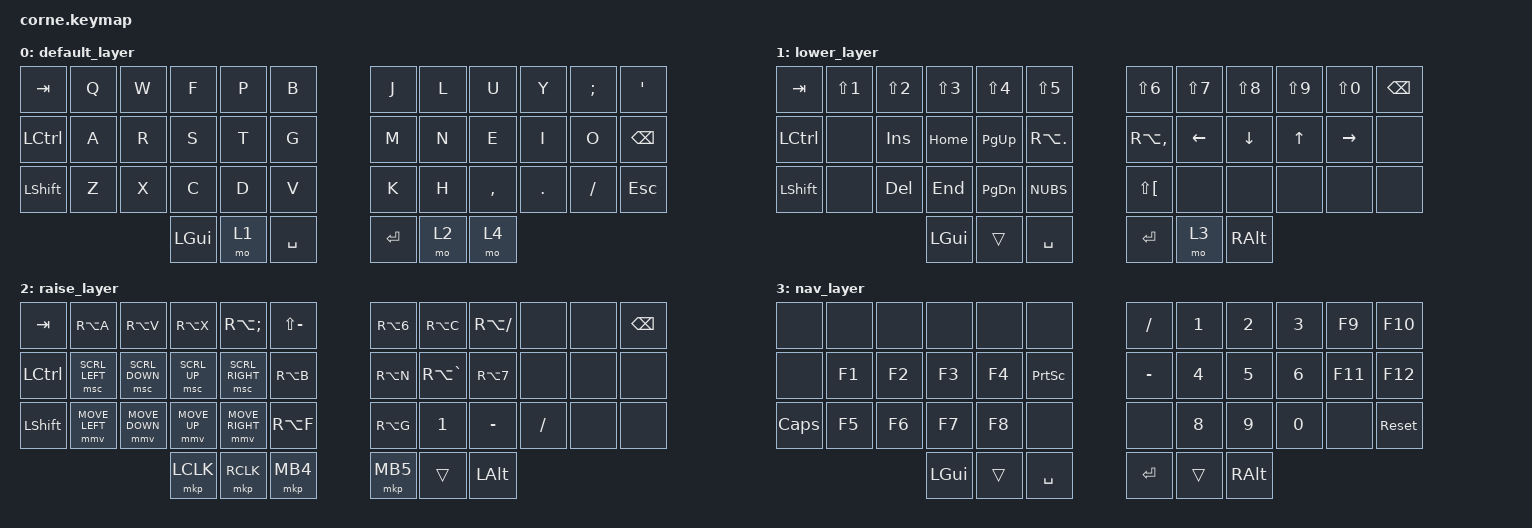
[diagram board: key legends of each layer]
#include <behaviors.dtsi>
#include <dt-bindings/zmk/keys.h>
#include <dt-bindings/zmk/mouse.h>
#include <dt-bindings/zmk/bt.h>

#define ZMK_POINTING_DEFAULT_MOVE_VAL 2000  // default: 600 so the mouse ain't slow as shit
#define ZMK_POINTING_DEFAULT_SCRL_VAL 20    // default: 10 for smoother scrolling

#include <dt-bindings/zmk/pointing.h>

/ {
    keymap {
        compatible = "zmk,keymap";

        default_layer {
            bindings = <
&kp TAB    &kp Q  &kp W  &kp F  &kp P  &kp B       &kp J  &kp L  &kp U  &kp Y  &kp SEMI  &kp SQT
&kp LCTRL  &kp A  &kp R  &kp S  &kp T  &kp G       &kp M  &kp N  &kp E  &kp I  &kp O     &kp BSPC
&kp LSHFT  &kp Z  &kp X  &kp C  &kp D  &kp V       &kp K  &kp H  &kp COMMA &kp DOT &kp SLASH &kp ESC
                         &kp LGUI  &mo 1  &kp SPACE      &kp RET  &mo 2  &mo 4
            >;
        };

        lower_layer {
            bindings = <
&kp TAB    &kp LS(N1)  &kp LS(N2)  &kp LS(N3)  &kp LS(N4)  &kp LS(N5)       &kp LS(N6)  &kp LS(N7)  &kp LS(N8)  &kp LS(N9)  &kp LS(N0)  &kp BSPC
&kp LCTRL  &none       &kp INS     &kp HOME    &kp PG_UP   &kp RA(DOT)      &kp RA(COMMA) &kp LEFT  &kp DOWN    &kp UP      &kp RIGHT   &none
&kp LSHFT  &none       &kp DEL     &kp END     &kp PG_DN   &kp NUBS         &kp LS(LBKT)  &none     &none       &none       &none       &none
                                   &kp LGUI    &trans      &kp SPACE        &kp RET   &mo 3       &kp RALT
            >;
        };

        raise_layer {
            bindings = <
&kp TAB    &kp RA(A)       &kp RA(V)       &kp RA(X)     &kp RA(SEMI)    &kp LS(MINUS)    &kp RA(N6)  &kp RA(C)     &kp RA(SLASH)  &none       &none       &kp BSPC
&kp LCTRL  &msc SCRL_LEFT  &msc SCRL_DOWN  &msc SCRL_UP  &msc SCRL_RIGHT &kp RA(B)        &kp RA(N)   &kp RA(GRAVE) &kp RA(N7)     &none       &none       &none
&kp LSHFT  &mmv MOVE_LEFT  &mmv MOVE_DOWN  &mmv MOVE_UP  &mmv MOVE_RIGHT &kp RA(F)        &kp RA(G)   &kp N1        &kp MINUS      &kp SLASH   &none       &none
                                           &mkp LCLK     &mkp RCLK       &mkp MB4         &mkp MB5    &trans      &kp LALT
            >;
        };

        nav_layer {
            bindings = <
&none     &none      &none    &none    &none    &none           &kp SLASH  &kp N1  &kp N2  &kp N3  &kp F9   &kp F10
&none     &kp F1     &kp F2   &kp F3   &kp F4   &kp PSCRN       &kp MINUS  &kp N4  &kp N5  &kp N6  &kp F11  &kp F12
&kp CAPS  &kp F5     &kp F6   &kp F7   &kp F8   &none           &none      &kp N8  &kp N9  &kp N0  &none    &sys_reset
                              &kp LGUI &trans   &kp SPACE       &kp RET   &trans     &kp RALT
            >;
        };
    };
};


&kscan0 {
    row-gpios
        = <&pro_micro 4 (GPIO_ACTIVE_HIGH | GPIO_PULL_DOWN)>  // pin 022 - row 0
        , <&pro_micro 5 (GPIO_ACTIVE_HIGH | GPIO_PULL_DOWN)>  // pin 024 - row 1
        , <&gpio1     6 (GPIO_ACTIVE_HIGH | GPIO_PULL_DOWN)>  // pin 106 - row 2 -- This is the override that you only need for the **left** half, the right half should be master, so uncomment this block when building fw for the left half
        , <&pro_micro 7 (GPIO_ACTIVE_HIGH | GPIO_PULL_DOWN)>  // pin 011 - row 3
        ;
};
